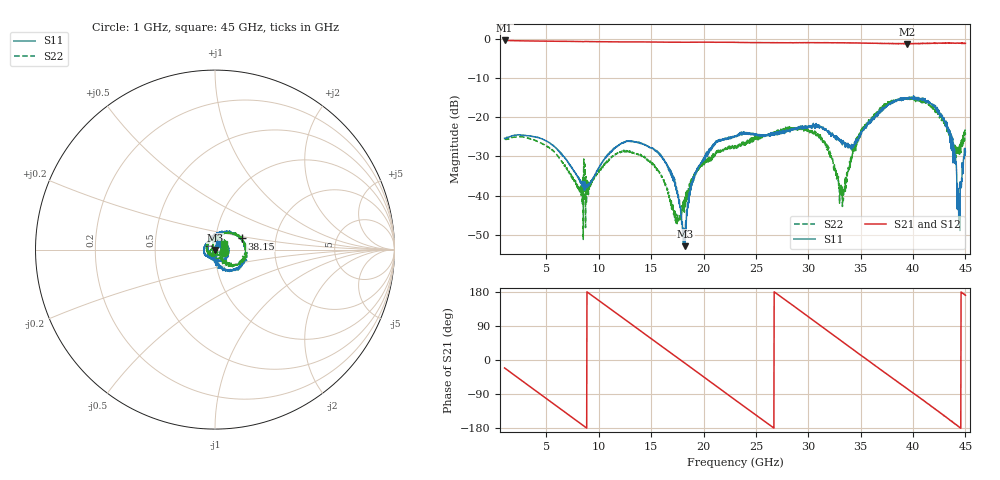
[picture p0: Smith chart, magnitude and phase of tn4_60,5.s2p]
!Keysight Technologies,N5247B,MY61255062,A.19.80.06
!Date: Thursday, May 21, 2026 11:58:29
!Correction: S11(Cdelta 2-Port  )
!S21(Cdelta 2-Port  )
!S12(Cdelta 2-Port  )
!S22(Cdelta 2-Port  )
!S2P File: Measurements: S11, S21, S12, S22:
# Hz S  dB  R 50
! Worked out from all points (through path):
!   1601 points, 1 GHz to 45 GHz, reference 50 ohm
!   highest |S21| = -0.48 dB at 1 GHz (marker M1); lowest = -1.4 dB at 39.42 GHz (marker M2)
!   group delay of S21, straight-line fit = 56 ps
!   lowest |S11| = -52.8 dB at 18.24 GHz (marker M3), VSWR 1.00, Z = 50 - j0.227 ohm
!   |S11| at or under -10 dB: start of sweep to end of sweep
!   |S22| runs from -51.1 to -14.8 dB; largest |S21 - S12| = 0.016
!   S11 on the Smith chart (normalised r, x): 1 GHz: 1.11, -0.03; 38.15 GHz: 1.33, +0.17; 45 GHz: 1.04, +0.06
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1e9  -25.39 -12.5  -0.48 -21.0  -0.48 -21.1  -25.55 -12.6
4.6025e9  -25.58 -88.7  -0.65 -94.1  -0.65 -94.1  -26.80 -87.9
8.3425e9  -36.62 -112.0  -0.76 -169.7  -0.77 -169.7  -39.63 -118.5
1.02125e10  -31.99 -66.5  -0.80 152.7  -0.81 152.7  -33.15 -73.2
1.2385e10  -26.50 -98.3  -0.85 109.0  -0.85 109.0  -28.57 -110.1
1.5685e10  -28.97 -156.7  -0.90 42.4  -0.90 42.4  -33.80 174.8
1.7445e10  -39.42 172.5  -0.93 7.1  -0.94 7.1  -45.39 88.2
1.82425e10  -52.85 -93.3  -0.94 -8.9  -0.94 -8.9  -42.80 -2.8
1.948e10  -33.15 -62.8  -0.93 -33.7  -0.93 -33.8  -33.53 -59.8
2.3e10  -24.78 -136.7  -0.95 -105.1  -0.96 -105.1  -27.67 -157.7
2.66575e10  -24.05 98.7  -1.05 -178.4  -1.05 -178.5  -23.98 84.7
3.03425e10  -22.84 -25.1  -1.05 107.4  -1.04 107.3  -23.40 -11.4
3.18275e10  -23.53 -71.3  -1.05 77.2  -1.05 77.2  -27.93 -48.9
3.32025e10  -26.18 -131.9  -1.10 49.3  -1.10 49.4  -37.70 -138.9
3.5045e10  -23.66 116.4  -1.17 12.3  -1.16 12.0  -24.06 83.4
3.7685e10  -16.78 35.4  -1.29 -41.0  -1.22 -40.9  -16.09 30.7
3.81525e10  -15.91 22.8  -1.32 -50.2  -1.32 -50.4  -15.73 22.3
3.94175e10  -15.13 -4.4  -1.35 -75.2  -1.29 -75.6  -15.43 1.1
4.2855e10  -20.50 -75.2  -1.15 -144.5  -1.23 -145.0  -20.40 -54.3
4.39e10  -29.32 -103.1  -1.19 -166.4  -1.16 -166.6  -27.95 -33.7
4.4395e10  -42.96 -40.9  -1.16 -176.4  -1.12 -177.2  -29.37 12.6
4.5e10  -28.84 52.4  -1.22 170.9  -1.25 170.9  -24.46 29.4
